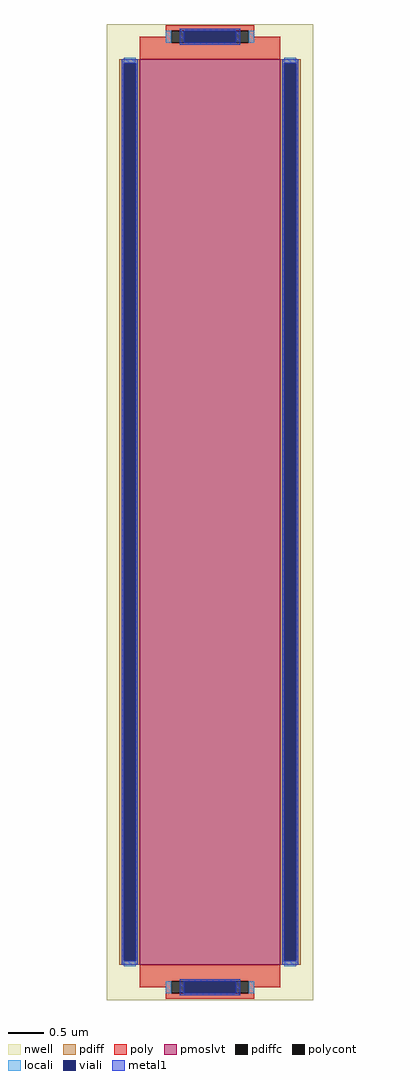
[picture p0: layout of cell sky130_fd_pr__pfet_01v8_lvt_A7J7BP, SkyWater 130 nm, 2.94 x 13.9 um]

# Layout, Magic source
magic
tech sky130A
magscale 1 2
<< nwell >>
rect -294 -1390 294 1390
<< pmoslvt >>
rect -200 -1290 200 1290
<< pdiff >>
rect -258 1278 -200 1290
rect -258 -1278 -246 1278
rect -212 -1278 -200 1278
rect -258 -1290 -200 -1278
rect 200 1278 258 1290
rect 200 -1278 212 1278
rect 246 -1278 258 1278
rect 200 -1290 258 -1278
<< pdiffc >>
rect -246 -1278 -212 1278
rect 212 -1278 246 1278
<< poly >>
rect -126 1371 126 1387
rect -126 1354 -110 1371
rect -200 1337 -110 1354
rect 110 1354 126 1371
rect 110 1337 200 1354
rect -200 1290 200 1337
rect -200 -1337 200 -1290
rect -200 -1354 -110 -1337
rect -126 -1371 -110 -1354
rect 110 -1354 200 -1337
rect 110 -1371 126 -1354
rect -126 -1387 126 -1371
<< polycont >>
rect -110 1337 110 1371
rect -110 -1371 110 -1337
<< locali >>
rect -126 1337 -110 1371
rect 110 1337 126 1371
rect -246 1278 -212 1294
rect -246 -1294 -212 -1278
rect 212 1278 246 1294
rect 212 -1294 246 -1278
rect -126 -1371 -110 -1337
rect 110 -1371 126 -1337
<< viali >>
rect -74 1337 74 1371
rect -246 -1278 -212 1278
rect 212 -1278 246 1278
rect -74 -1371 74 -1337
<< metal1 >>
rect -86 1371 86 1377
rect -86 1337 -74 1371
rect 74 1337 86 1371
rect -86 1331 86 1337
rect -252 1278 -206 1290
rect -252 -1278 -246 1278
rect -212 -1278 -206 1278
rect -252 -1290 -206 -1278
rect 206 1278 252 1290
rect 206 -1278 212 1278
rect 246 -1278 252 1278
rect 206 -1290 252 -1278
rect -86 -1337 86 -1331
rect -86 -1371 -74 -1337
rect 74 -1371 86 -1337
rect -86 -1377 86 -1371
<< properties >>
string gencell sky130_fd_pr__pfet_01v8_lvt
string library sky130
string parameters w 12.9 l 2 m 1 nf 1 diffcov 100 polycov 60 guard 0 glc 1 grc 1 gtc 1 gbc 1 tbcov 100 rlcov 100 topc 1 botc 1 poverlap 0 doverlap 1 lmin 0.35 wmin 0.42 compatible {sky130_fd_pr__pfet_01v8  sky130_fd_pr__pfet_01v8_lvt sky130_fd_pr__pfet_01v8_hvt  sky130_fd_pr__pfet_g5v0d10v5} full_metal 1 viasrc 100 viadrn 100 viagate 40 viagb 0 viagr 0 viagl 0 viagt 0
<< end >>
